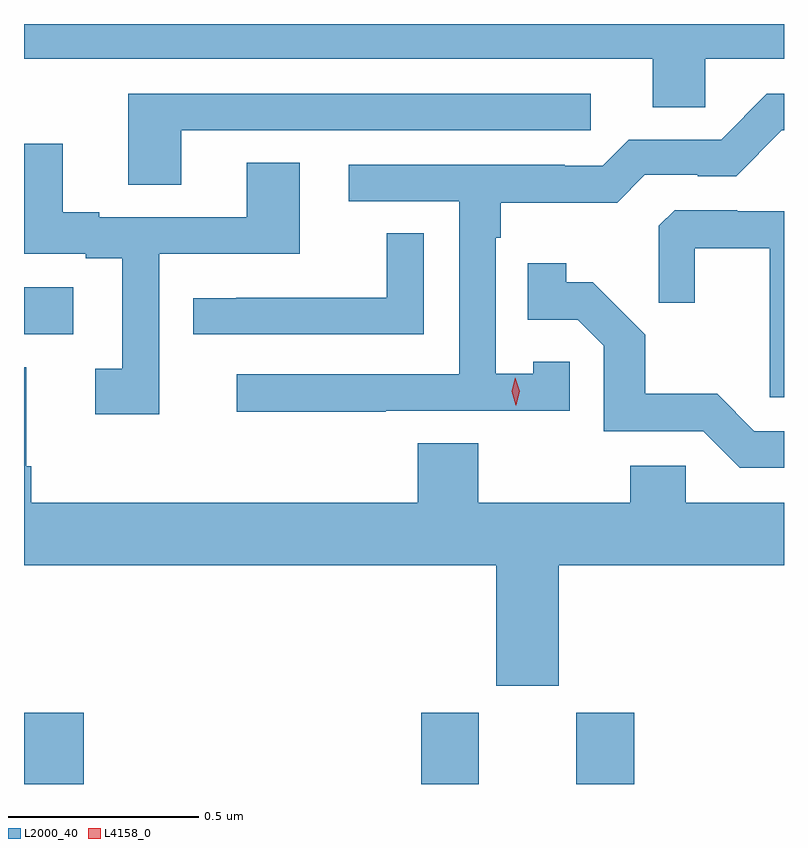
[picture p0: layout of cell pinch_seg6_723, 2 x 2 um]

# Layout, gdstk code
import gdstk
lib = gdstk.Library(unit=1e-6, precision=1e-09)
def R(c, l, rs):  # rectangles x0, y0, x1, y1
    for r in rs: c.add(gdstk.rectangle(r[:2], r[2:], *l))
def P(c, l, *ps):  # polygons
    for p in ps: c.add(gdstk.Polygon(p, *l))
L2000_40 = (2000, 40)
L4158_0 = (4158, 0)

pinch_seg6_723 = lib.new_cell('pinch_seg6_723')
R(pinch_seg6_723, L2000_40, [(433.717,933.44,433.874,933.628), (434.762,933.44,434.914,933.627), (435.17,933.44,435.323,933.627), (433.717,934.623,433.846,934.747)])
P(pinch_seg6_723, L2000_40, [(433.717,935.348),(435.371,935.348),(435.371,935.221),(435.51,935.221),(435.51,935.348),(435.717,935.348),(435.717,935.44),(433.717,935.44)],
  [(434.669,934.422),(435.153,934.422),(435.153,934.551),(435.057,934.551),(435.057,934.519),(434.958,934.519),(434.958,934.877),(434.971,934.877),(434.971,934.97),(435.278,934.97),(435.351,935.043),(435.49,935.043),(435.49,935.04),(435.591,935.04),(435.711,935.16),(435.717,935.16),(435.717,935.256),(435.672,935.256),(435.552,935.136),(435.309,935.136),(435.24,935.067),(435.14,935.067),(435.14,935.07),(434.571,935.07),(434.571,934.974),(434.862,934.974),(434.862,934.518),(434.277,934.518),(434.277,934.42),(434.669,934.42)],
  [(434.131,935.16),(435.208,935.16),(435.208,935.256),(433.991,935.256),(433.991,935.017),(434.131,935.017)],
  [(434.073,934.836),(434.443,934.836),(434.443,935.075),(434.303,935.075),(434.303,934.932),(433.915,934.932),(433.915,934.945),(433.819,934.945),(433.819,935.125),(433.717,935.125),(433.717,934.836),(433.88,934.836),(433.88,934.824),(433.976,934.824),(433.976,934.533),(433.905,934.533),(433.905,934.413),(434.073,934.413)],
  [(435.717,934.947),(435.594,934.947),(435.594,934.95),(435.429,934.95),(435.388,934.909),(435.388,934.707),(435.482,934.707),(435.482,934.85),(435.68,934.85),(435.68,934.458),(435.717,934.458)],
  [(434.769,934.889),(434.671,934.889),(434.671,934.719),(434.275,934.719),(434.275,934.718),(434.163,934.718),(434.163,934.623),(434.769,934.623)],
  [(435.717,934.368),(435.639,934.368),(435.541,934.467),(435.352,934.467),(435.352,934.622),(435.214,934.76),(435.144,934.76),(435.144,934.81),(435.043,934.81),(435.043,934.662),(435.174,934.662),(435.243,934.593),(435.243,934.368),(435.504,934.368),(435.6,934.272),(435.717,934.272)],
  [(435.124,934.016),(435.717,934.016),(435.717,934.18),(435.459,934.18),(435.459,934.278),(435.313,934.278),(435.313,934.18),(434.913,934.18),(434.913,934.337),(434.753,934.337),(434.753,934.18),(433.736,934.18),(433.736,934.276),(433.723,934.276),(433.723,934.537),(433.717,934.537),(433.717,934.016),(434.96,934.016),(434.96,933.699),(435.124,933.699)])
P(pinch_seg6_723, L4158_0, [(435.011,934.437),(435.001,934.473),(435.01,934.509),(435.01,934.509),(435.01,934.509),(435.021,934.473),(435.012,934.437),(435.012,934.437)])

lib.write_gds('pinch_seg6_723.gds')
